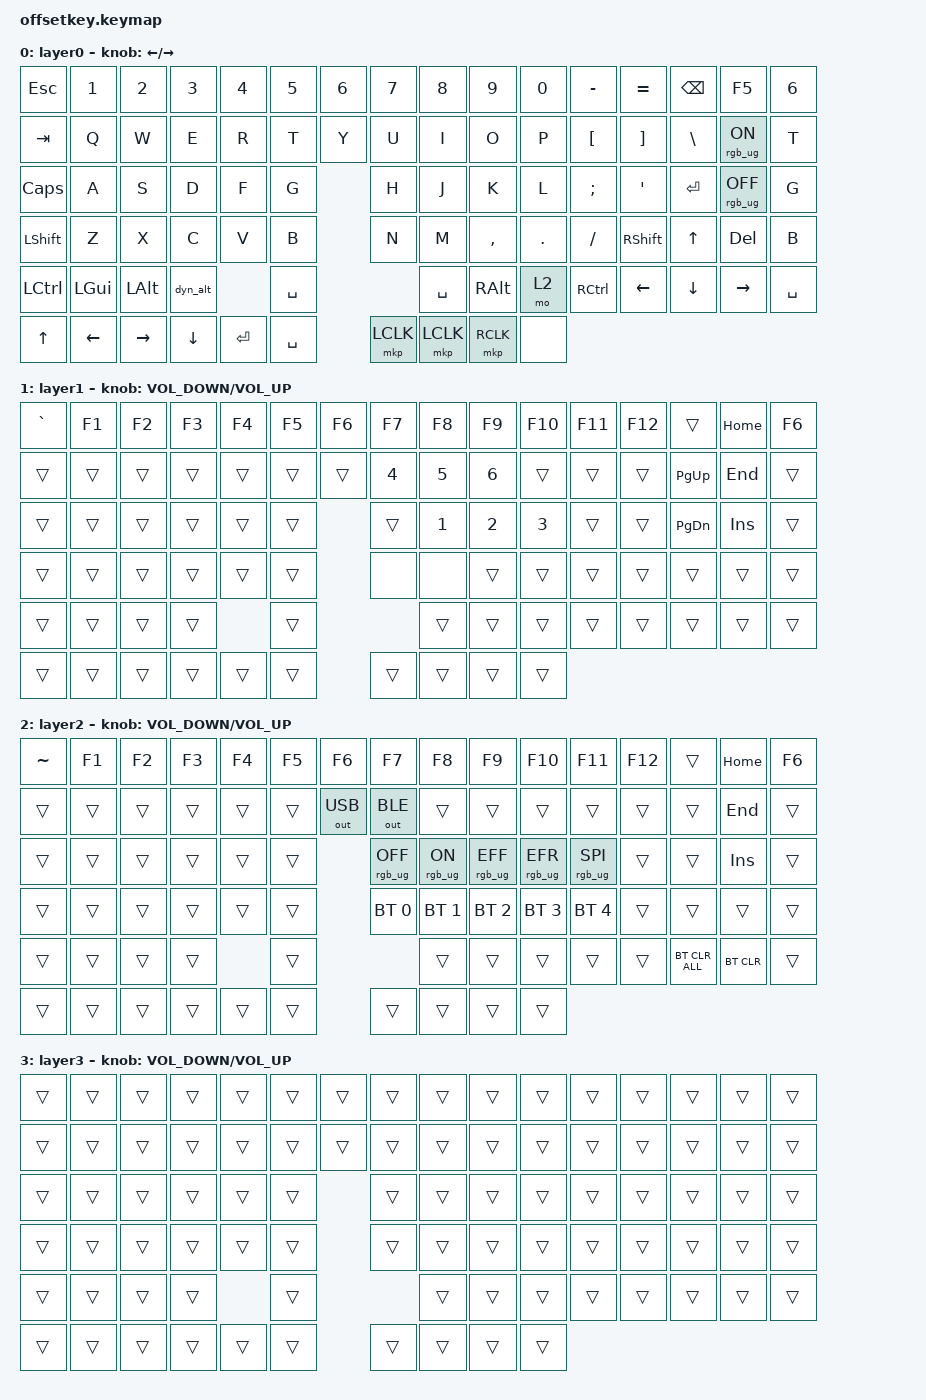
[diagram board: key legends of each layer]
#define ZMK_POINTING_DEFAULT_MOVE_VAL 1200  // 600
#define ZMK_POINTING_DEFAULT_SCRL_VAL 35    // 10
#define BASE 0
#define LOWER 1
#define MOUSE_KEYS 2
#define MOUSE_TP 3
#define MOUSE_TP_SET 4

#include <input/processors.dtsi>
#include <zephyr/dt-bindings/input/input-event-codes.h>
#include <behaviors/toggle_io.dtsi>
#include <behaviors/on_io.dtsi>
#include <behaviors/off_io.dtsi>
#include <input/processors.dtsi>
#include <behaviors.dtsi>
#include <dt-bindings/zmk/bt.h>
#include <dt-bindings/zmk/keys.h>
#include <dt-bindings/zmk/outputs.h>
#include <dt-bindings/zmk/pointing.h>
#include <dt-bindings/zmk/rgb.h>

&mmv_input_listener { input-processors = <&zip_xy_scaler 2 1>; };

&msc_input_listener { input-processors = <&zip_scroll_scaler 2 1>; };

&msc {
    acceleration-exponent = <0>;      // 0
    time-to-max-speed-ms = <0>;       // 300
    delay-ms = <0>;                   // 0
};

&mmv {
    time-to-max-speed-ms = <400>;
    acceleration-exponent = <1>;
};

/ {
    scroll_encoder: scroll_encoder {
        compatible = "zmk,behavior-sensor-rotate";
        #sensor-binding-cells = <0>;
        bindings = <&msc SCRL_UP>, <&msc SCRL_DOWN>;

        tap-ms = <100>;
    };

    behaviors {
        ltq: ltq {
            compatible = "zmk,behavior-hold-tap";
            label = "LTQ";
            bindings = <&mo>, <&kp>;

            #binding-cells = <2>;
            tapping-term-ms = <200>;
            quick-tap-ms = <180>;
        };
        dyn_alt: dyn_alt {
            compatible = "zmk,behavior-dynamic-mod";
            label = "DYN_ALT";
            #binding-cells = <0>;
            layer = <1>;                              // which momentary layer
            mod = <LALT>;
            trigger-positions = <16>;                 // which key(s) to trigger  format： <"position-number1" "position-number2" ...>
        };
        dyn_ctrl: dyn_ctrl {
            compatible = "zmk,behavior-dynamic-mod";
            label = "DYN_CTRL";
            #binding-cells = <0>;
            layer = <1>;
            mod = <LCTRL>;
            trigger-positions = <16>;
        };
        dyn_shift: dyn_shift {
            compatible = "zmk,behavior-dynamic-mod";
            label = "DYN_SHIFT";
            #binding-cells = <0>;
            layer = <1>;
            mod = <LSHFT>;
            trigger-positions = <16>;
        };
        dyn_gui: dyn_gui {
            compatible = "zmk,behavior-dynamic-mod";
            label = "DYN_GUI";
            #binding-cells = <0>;
            layer = <1>;
            mod = <LGUI>;
            trigger-positions = <16>;
        };
    };

    combos {
        compatible = "zmk,combos";

        flash {
            bindings = <&bootloader>;
            key-positions = <0 11>;
        };
    };

    keymap {
        compatible = "zmk,keymap";

        BASE {
            bindings = <
&kp ESC       &kp N1          &kp N2           &kp N3          &kp N4     &kp N5     &kp N6      &kp N7     &kp N8     &kp N9         &kp N0   &kp MINUS  &kp EQUAL        &kp BSPC      &kp F5                           &kp NUMBER_6
&kp TAB       &kp Q           &kp W            &kp E           &kp R      &kp T                  &kp Y      &kp U      &kp I          &kp O    &kp P      &kp LBKT         &kp RBKT      &kp BSLH         &rgb_ug RGB_ON  &kp T
&kp CAPS      &kp A           &kp S            &kp D           &kp F      &kp G                  &kp H      &kp J      &kp K          &kp L    &kp SEMI   &kp APOS         &kp ENTER     &rgb_ug RGB_OFF                  &kp G
&kp LSHFT     &kp Z           &kp X            &kp C           &kp V      &kp B                  &kp N      &kp M      &kp COMMA      &kp DOT  &kp FSLH   &kp RIGHT_SHIFT  &kp UP_ARROW  &kp DELETE                       &kp B
&kp LCTRL     &kp LEFT_GUI    &kp LEFT_ALT     &dyn_alt                      &kp SPACE                         &kp SPACE  &kp RIGHT_ALT  &mo 2    &kp RCTRL  &kp LEFT         &kp DOWN      &kp RIGHT                        &kp SPACE
&kp UP_ARROW  &kp LEFT_ARROW  &kp RIGHT_ARROW  &kp DOWN_ARROW  &kp ENTER  &kp SPACE              &mkp LCLK  &mkp LCLK  &mkp RCLK      &none
            >;

            label = "layer0";
            sensor-bindings = <&inc_dec_kp LEFT_ARROW RIGHT_ARROW>;
        };

        layer_1 {
            bindings = <
&kp GRAVE  &kp F1  &kp F2  &kp F3  &kp F4  &kp F5  &kp F6      &kp F7  &kp F8        &kp F9        &kp F10       &kp F11  &kp F12  &trans     &kp HOME             &kp F6
&trans     &trans  &trans  &trans  &trans  &trans              &trans  &kp NUMBER_4  &kp NUMBER_5  &kp NUMBER_6  &trans   &trans   &trans     &kp PG_UP   &kp END  &trans
&trans     &trans  &trans  &trans  &trans  &trans              &trans  &kp NUMBER_1  &kp NUMBER_2  &kp NUMBER_3  &trans   &trans   &kp PG_DN  &kp INSERT           &trans
&trans     &trans  &trans  &trans  &trans  &trans              &none   &none         &trans        &trans        &trans   &trans   &trans     &trans               &trans
&trans     &trans  &trans  &trans          &trans                      &trans        &trans        &trans        &trans   &trans   &trans     &trans               &trans
&trans     &trans  &trans  &trans  &trans  &trans              &trans  &trans        &trans        &trans
            >;

            label = "layer1";
            sensor-bindings = <&inc_dec_kp C_VOLUME_DOWN C_VOLUME_UP>;
        };

        layer_2 {
            bindings = <
&kp TILDE  &kp F1  &kp F2  &kp F3  &kp F4  &kp F5  &kp F6      &kp F7           &kp F8          &kp F9           &kp F10          &kp F11          &kp F12  &trans          &kp HOME             &kp F6
&trans     &trans  &trans  &trans  &trans  &trans              &out OUT_USB     &out OUT_BLE    &trans           &trans           &trans           &trans   &trans          &trans      &kp END  &trans
&trans     &trans  &trans  &trans  &trans  &trans              &rgb_ug RGB_OFF  &rgb_ug RGB_ON  &rgb_ug RGB_EFF  &rgb_ug RGB_EFR  &rgb_ug RGB_SPI  &trans   &trans          &kp INSERT           &trans
&trans     &trans  &trans  &trans  &trans  &trans              &bt BT_SEL 0     &bt BT_SEL 1    &bt BT_SEL 2     &bt BT_SEL 3     &bt BT_SEL 4     &trans   &trans          &trans               &trans
&trans     &trans  &trans  &trans          &trans                               &trans          &trans           &trans           &trans           &trans   &bt BT_CLR_ALL  &bt BT_CLR           &trans
&trans     &trans  &trans  &trans  &trans  &trans              &trans           &trans          &trans           &trans
            >;

            label = "layer2";
            sensor-bindings = <&inc_dec_kp C_VOLUME_DOWN C_VOLUME_UP>;
        };

        layer_3 {
            bindings = <
&trans  &trans  &trans  &trans  &trans  &trans  &trans      &trans  &trans  &trans  &trans  &trans  &trans  &trans  &trans          &trans
&trans  &trans  &trans  &trans  &trans  &trans              &trans  &trans  &trans  &trans  &trans  &trans  &trans  &trans  &trans  &trans
&trans  &trans  &trans  &trans  &trans  &trans              &trans  &trans  &trans  &trans  &trans  &trans  &trans  &trans          &trans
&trans  &trans  &trans  &trans  &trans  &trans              &trans  &trans  &trans  &trans  &trans  &trans  &trans  &trans          &trans
&trans  &trans  &trans  &trans          &trans                      &trans  &trans  &trans  &trans  &trans  &trans  &trans          &trans
&trans  &trans  &trans  &trans  &trans  &trans              &trans  &trans  &trans  &trans
            >;

            label = "layer3";
            sensor-bindings = <&inc_dec_kp C_VOLUME_DOWN C_VOLUME_UP>;
        };
    };
};
